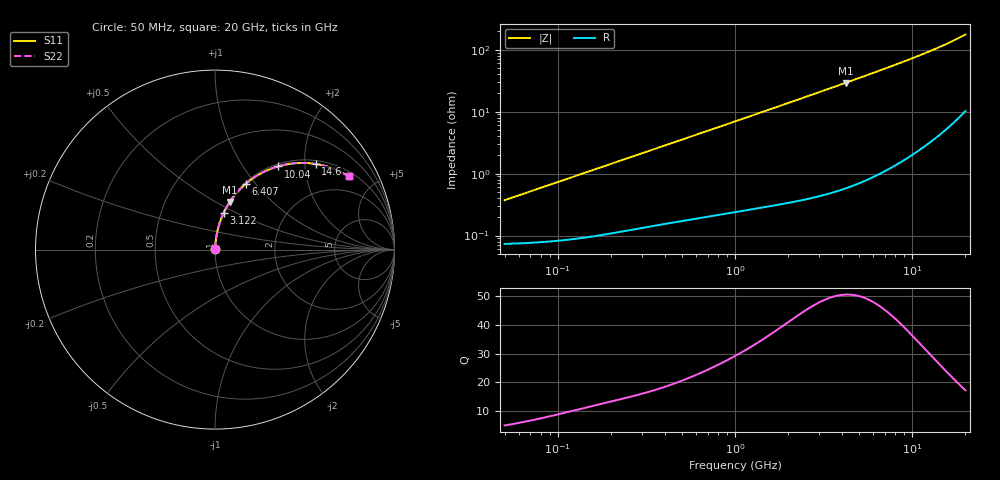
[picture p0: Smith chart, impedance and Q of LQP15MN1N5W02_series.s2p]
!Murata Part Number: LQP15MN1N5W02
!These Parameters are Measured in Series Mode Connection
!  o--[Z]--o
!Port1  Port2
!  o-------o
!Freq. Start=50[MHz] Stop=20[GHz], 401[Steps]
# Hz S RI R 50
!Freq.(Hz) S11(Real) S11(Imag) S21(Real) S21(Imag) S12(Real) S12(Imag) S22(Real) S22(Imag)
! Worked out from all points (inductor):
!   401 points, 50 MHz to 20 GHz, reference 50 ohm
!   read as one part in series: L = 1.16 nH near 51.52 MHz
!   highest Q = 50.5 at 4.212 GHz (marker M1), where L = 1.1 nH
!   S11 on the Smith chart (normalised r, x): 50 MHz: 1.00, +0.01; 3.122 GHz: 1.01, +0.43; 6.407 GHz: 1.02, +0.90; 10.04 GHz: 1.04, +1.46; 14.6 GHz: 1.09, +2.27; 20 GHz: 1.20, +3.51
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5e7  0.000745 0.00365  0.9993 -0.00365  0.9993 -0.00365  0.000745 0.00365
5.552724e7  0.000756 0.00405  0.9992 -0.00405  0.9992 -0.00405  0.000756 0.00405
1.364002e8  0.00101 0.00987  0.999 -0.00987  0.999 -0.00987  0.00101 0.00987
3.721004e8  0.00217 0.0263  0.9978 -0.0263  0.9978 -0.0263  0.00217 0.0263
6.380365e8  0.0039 0.0444  0.9961 -0.0444  0.9961 -0.0444  0.0039 0.0444
1e9  0.00714 0.0688  0.9929 -0.0688  0.9929 -0.0688  0.00714 0.0688
1.329223e9  0.0111 0.0907  0.9889 -0.0907  0.9889 -0.0907  0.0111 0.0907
1.714689e9  0.0168 0.116  0.9832 -0.116  0.9832 -0.116  0.0168 0.116
2.179053e9  0.0254 0.1459  0.9746 -0.1459  0.9746 -0.1459  0.0254 0.1459
2.728004e9  0.0378 0.1803  0.9622 -0.1803  0.9622 -0.1803  0.0378 0.1803
3.121702e9  0.0482 0.2041  0.9518 -0.2041  0.9518 -0.2041  0.0482 0.2041
4.212059e9  0.0828 0.2659  0.9172 -0.2659  0.9172 -0.2659  0.0828 0.2659
5.273168e9  0.1236 0.3192  0.8764 -0.3192  0.8764 -0.3192  0.1236 0.3192
6.406762e9  0.173 0.3678  0.827 -0.3678  0.827 -0.3678  0.173 0.3678
7.442007e9  0.2218 0.4042  0.7782 -0.4042  0.7782 -0.4042  0.2218 0.4042
8.644534e9  0.2809 0.4372  0.7191 -0.4372  0.7191 -0.4372  0.2809 0.4372
1.004137e10  0.3505 0.4635  0.6495 -0.4635  0.6495 -0.4635  0.3505 0.4635
1.220001e10  0.4547 0.4819  0.5453 -0.4819  0.5453 -0.4819  0.4547 0.4819
1.460232e10  0.5602 0.4772  0.4398 -0.4772  0.4398 -0.4772  0.5602 0.4772
1.696185e10  0.6498 0.4544  0.3502 -0.4544  0.3502 -0.4544  0.6498 0.4544
1.940974e10  0.7274 0.4184  0.2726 -0.4184  0.2726 -0.4184  0.7274 0.4184
2e10  0.7439 0.4084  0.2561 -0.4084  0.2561 -0.4084  0.7439 0.4084
